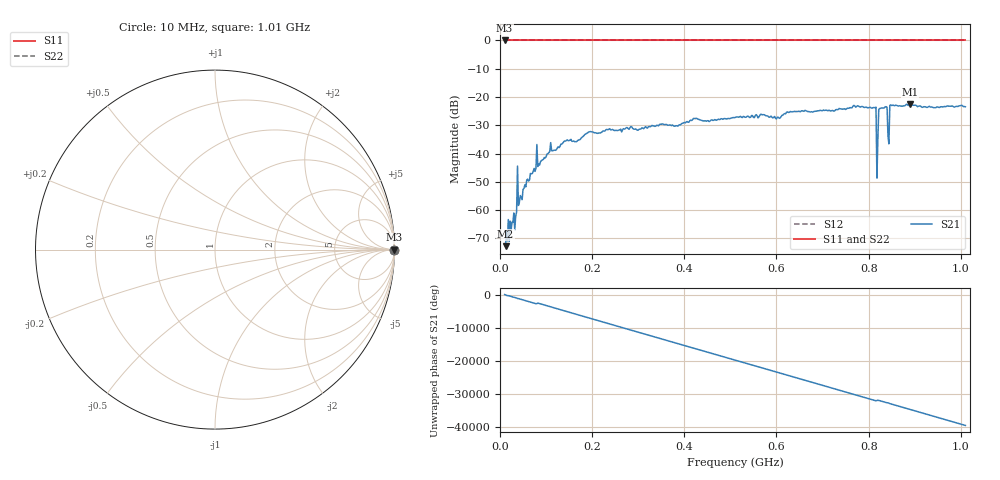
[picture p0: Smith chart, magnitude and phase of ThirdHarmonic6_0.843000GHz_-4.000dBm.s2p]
! 8/16/2025 3:55:44 AM
! C:\ANRITSUVNA\TEMP\TEMP.S2P
! CHANNEL.1
! TR.MEASUREMENT
! RAW.DATA
! RF.CORRECTION.OFF
! AVERAGING.OFF
! IF.BANDWIDTH: 5KHZ
! SWEEPTYPE:  FREQ.SWEEP(Linear)
! Reference Plane Port Info
! PORT:  PORT1  PORT2
! DISTANCE:  0  m  0  m
! TIME:  0  s  0  s
! PHASE.OFFSET:  0  deg.  0  deg.
! LOSS:  0  dB  0  dB
! REF.LOSS:  0  dB  0  dB
! REF.FREQ:  0  Hz  0  Hz
! Power Info
! POWER:  -20  dBm  -20  dBm
! EFF.POWER:  -20  dBm  -20  dBm
! SOURCE.ATTEN:  0  dB  0  dB
! TEST.ATTEN:  0  dB  0  dB
# GHZ S RI R 50.0
! FREQ.GHZ  S11RE  S11IM  S21RE  S21IM  S12RE  S12IM  S22RE  S22IM
!; PortSelection: Port_12
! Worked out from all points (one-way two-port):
!   501 points, 10 MHz to 1.01 GHz, reference 50 ohm
!   highest |S21| = -22.56 dB at 890 MHz (marker M1); lowest = -72.8 dB at 12 MHz (marker M2)
!   lowest |S11| = 0.0 dB at 10 MHz (marker M3)
!   |S11| at or under -10 dB: nowhere
!   |S22| runs from 0.0 to 0.0 dB; largest |S21 - S12| = 1.1
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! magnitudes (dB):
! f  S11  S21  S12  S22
! 10 MHz  0.0  -72.3  0.0  0.0
! 12 MHz  0.0  -72.8  0.0  0.0
! 32 MHz  0.0  -67.0  0.0  0.0
! 34 MHz  0.0  -62.3  0.0  0.0
! 42 MHz  0.0  -57.3  0.0  0.0
! 44 MHz  0.0  -54.9  0.0  0.0
! 76 MHz  0.0  -46.3  0.0  0.0
! 142 MHz  0.0  -35.6  0.0  0.0
! 178 MHz  0.0  -34.3  0.0  0.0
! 344 MHz  0.0  -30.2  0.0  0.0
! 510 MHz  0.0  -27.3  0.0  0.0
! 678 MHz  0.0  -25.4  0.0  0.0
! 812 MHz  0.0  -23.7  0.0  0.0
! 816 MHz  0.0  -23.6  0.0  0.0
! 822 MHz  0.0  -24.4  0.0  0.0
! 826 MHz  0.0  -24.0  0.0  0.0
! 836 MHz  0.0  -23.5  0.0  0.0
! 840 MHz  0.0  -23.7  0.0  0.0
! 844 MHz  0.0  -36.6  0.0  0.0
! 850 MHz  0.0  -23.0  0.0  0.0
! 890 MHz  0.0  -22.6  0.0  0.0
! 1.01 GHz  0.0  -23.5  0.0  0.0
